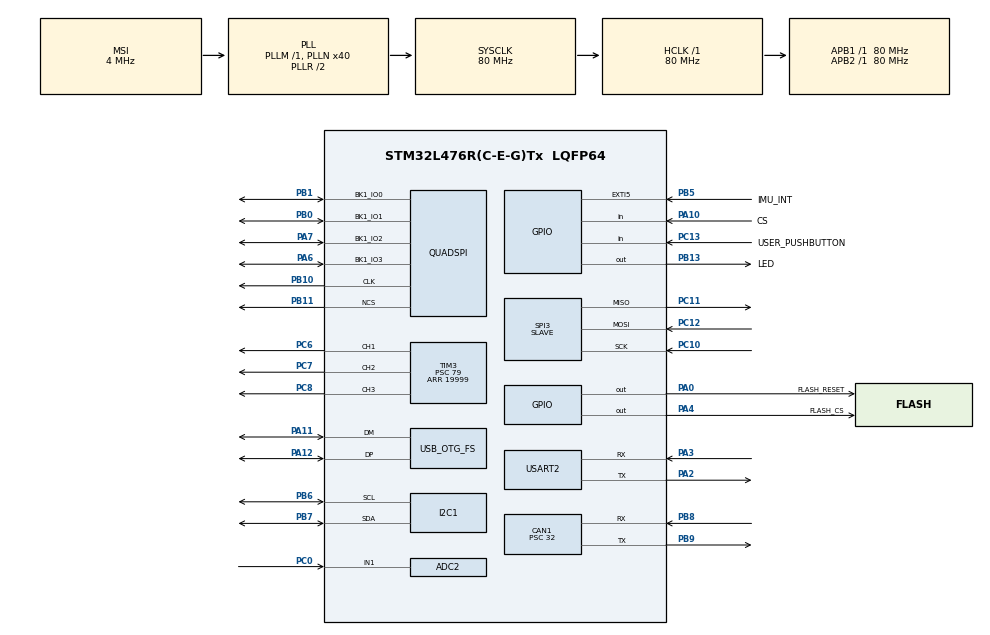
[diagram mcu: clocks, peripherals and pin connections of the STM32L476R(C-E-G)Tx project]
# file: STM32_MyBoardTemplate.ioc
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ADC2.Channel-1\#ChannelRegularConversion=ADC_CHANNEL_1
ADC2.NbrOfConversionFlag=1
ADC2.OffsetNumber-1\#ChannelRegularConversion=ADC_OFFSET_NONE
ADC2.Rank-1\#ChannelRegularConversion=1
ADC2.SamplingTime-1\#ChannelRegularConversion=ADC_SAMPLETIME_2CYCLES_5
CAN1.BS1=CAN_BS1_1TQ
CAN1.BS2=CAN_BS2_1TQ
CAN1.CalculateBaudRate=833333
CAN1.CalculateTimeBit=1200
CAN1.CalculateTimeQuantum=400.0
CAN1.Prescaler=32
I2C1.Timing=0x10909CEC
Mcu.Family=STM32L4
Mcu.Name=STM32L476R(C-E-G)Tx
Mcu.Package=LQFP64
NVIC.EXTI9_5_IRQn=true\:0\:0\:false\:false\:true\:true\:true\:true
NVIC.OTG_FS_IRQn=true\:0\:0\:false\:false\:true\:false\:true\:true
NVIC.PriorityGroup=NVIC_PRIORITYGROUP_4
PA0.GPIO_Label=FLASH_RESET
PA0.Signal=GPIO_Output
PA10.GPIO_Label=CS
PA10.Signal=GPIO_Input
PA11.Mode=Device_Only
PA11.Signal=USB_OTG_FS_DM
PA12.Mode=Device_Only
PA12.Signal=USB_OTG_FS_DP
PA13\ (JTMS-SWDIO).Mode=Serial_Wire
PA13\ (JTMS-SWDIO).Signal=SYS_JTMS-SWDIO
PA14\ (JTCK-SWCLK).Mode=Serial_Wire
PA14\ (JTCK-SWCLK).Signal=SYS_JTCK-SWCLK
PA2.Mode=Asynchronous
PA2.Signal=USART2_TX
PA3.Mode=Asynchronous
PA3.Signal=USART2_RX
PA4.GPIO_Label=FLASH_CS
PA4.Signal=GPIO_Output
PA6.Mode=Single Bank
PA6.Signal=QUADSPI_BK1_IO3
PA7.Mode=Single Bank
PA7.Signal=QUADSPI_BK1_IO2
PB0.Mode=Single Bank
PB0.Signal=QUADSPI_BK1_IO1
PB1.Mode=Single Bank
PB1.Signal=QUADSPI_BK1_IO0
PB10.Mode=Single Bank
PB10.Signal=QUADSPI_CLK
PB11.Mode=Single Bank
PB11.Signal=QUADSPI_NCS
PB13.GPIO_Label=LED
PB13.Signal=GPIO_Output
PB5.GPIO_Label=IMU_INT
PB5.Signal=GPXTI5
PB6.Mode=I2C
PB6.Signal=I2C1_SCL
PB7.Mode=I2C
PB7.Signal=I2C1_SDA
PB8.Mode=CAN_Activate
PB8.Signal=CAN1_RX
PB9.Mode=CAN_Activate
PB9.Signal=CAN1_TX
PC0.Signal=ADCx_IN1
PC10.Mode=Full_Duplex_Slave
PC10.Signal=SPI3_SCK
PC11.Mode=Full_Duplex_Slave
PC11.Signal=SPI3_MISO
PC12.Mode=Full_Duplex_Slave
PC12.Signal=SPI3_MOSI
PC13.GPIO_Label=USER_PUSHBUTTON
PC13.Signal=GPIO_Input
PC14-OSC32_IN\ (PC14).Mode=LSE-External-Oscillator
PC14-OSC32_IN\ (PC14).Signal=RCC_OSC32_IN
PC15-OSC32_OUT\ (PC15).Mode=LSE-External-Oscillator
PC15-OSC32_OUT\ (PC15).Signal=RCC_OSC32_OUT
PC6.Signal=S_TIM3_CH1
PC7.Signal=S_TIM3_CH2
PC8.Signal=S_TIM3_CH3
PH0-OSC_IN\ (PH0).Mode=HSE-External-Oscillator
PH0-OSC_IN\ (PH0).Signal=RCC_OSC_IN
PH1-OSC_OUT\ (PH1).Mode=HSE-External-Oscillator
PH1-OSC_OUT\ (PH1).Signal=RCC_OSC_OUT
ProjectManager.HeapSize=0x2000
ProjectManager.StackSize=0x400
ProjectManager.TargetToolchain=STM32CubeIDE
RCC.ADCFreq_Value=48000000
RCC.AHBFreq_Value=80000000
RCC.APB1Freq_Value=80000000
RCC.APB1TimFreq_Value=80000000
RCC.APB2Freq_Value=80000000
RCC.APB2TimFreq_Value=80000000
RCC.CortexFreq_Value=80000000
RCC.HCLKFreq_Value=80000000
RCC.HSE_VALUE=25000000
RCC.HSI_VALUE=16000000
RCC.MSI_VALUE=4000000
RCC.PLLN=40
RCC.PLLSAI1N=24
RCC.SYSCLKFreq_VALUE=80000000
RCC.SYSCLKSource=RCC_SYSCLKSOURCE_PLLCLK
RCC.USBFreq_Value=48000000
RCC.VCOOutputFreq_Value=160000000
SH.ADCx_IN1.0=ADC2_IN1,IN1-Single-Ended
SH.S_TIM3_CH1.0=TIM3_CH1,PWM Generation1 CH1
SH.S_TIM3_CH2.0=TIM3_CH2,PWM Generation2 CH2
SH.S_TIM3_CH3.0=TIM3_CH3,PWM Generation3 CH3
SPI3.DataSize=SPI_DATASIZE_8BIT
SPI3.Direction=SPI_DIRECTION_2LINES
SPI3.Mode=SPI_MODE_SLAVE
SPI3.VirtualType=VM_SLAVE
TIM3.Channel-PWM\ Generation1\ CH1=TIM_CHANNEL_1
TIM3.Channel-PWM\ Generation2\ CH2=TIM_CHANNEL_2
TIM3.Channel-PWM\ Generation3\ CH3=TIM_CHANNEL_3
TIM3.Period=19999
TIM3.Prescaler=79
USART2.VirtualMode-Asynchronous=VM_ASYNC
USB_DEVICE.CLASS_NAME_FS=CDC
USB_DEVICE.PRODUCT_STRING_CDC_FS=STM32 Virtual PORT
USB_DEVICE.VirtualMode=Cdc
USB_DEVICE.VirtualModeFS=Cdc_FS
USB_OTG_FS.VirtualMode=Device_Only
VP_USB_DEVICE_VS_USB_DEVICE_CDC_FS.Mode=CDC_FS
board=custom

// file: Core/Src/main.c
/* USER CODE BEGIN Header */
/**
  ******************************************************************************
  * @file           : main.c
  * @brief          : Main program body
  ******************************************************************************
  * @attention
  *
  * Copyright (c) 2024 STMicroelectronics.
  * All rights reserved.
  *
  * This software is licensed under terms that can be found in the LICENSE file
  * in the root directory of this software component.
  * If no LICENSE file comes with this software, it is provided AS-IS.
  *
  ******************************************************************************
  */
/* USER CODE END Header */
#include "main.h"
#include "adc.h"
#include "can.h"
#include "i2c.h"
#include "quadspi.h"
#include "spi.h"
#include "tim.h"
#include "usart.h"
#include "usb_device.h"
#include "gpio.h"

/* USER CODE BEGIN Includes */

#include "servo_control.h"
#include "hexapod_protocol.h"

/* USER CODE END Includes */

void SystemClock_Config(void);
void PeriphCommonClock_Config(void);

/* USER CODE BEGIN 0 */

static TIM_HandleTypeDef* servo_timers[] = {
        SERVO_11_TIMER,
        SERVO_12_TIMER,
        SERVO_13_TIMER
};

RAW_SPI_Message my_message;

/* USER CODE END 0 */

int main(void)
{

  /* MCU Configuration--------------------------------------------------------*/

  /* Reset of all peripherals, Initializes the Flash interface and the Systick. */
  HAL_Init();

  /* Configure the system clock */
  SystemClock_Config();

/* Configure the peripherals common clocks */
  PeriphCommonClock_Config();

  /* Initialize all configured peripherals */
  MX_GPIO_Init();
  MX_I2C1_Init();
  MX_CAN1_Init();
  MX_QUADSPI_Init();
  MX_USART2_UART_Init();
  MX_USB_DEVICE_Init();
  MX_SPI3_Init();
  MX_TIM3_Init();
  MX_ADC2_Init();

  /* Infinite loop */
  /* USER CODE BEGIN WHILE */

  bool receive = true;
  RAW_SPI_Message transmit_message;

  // Initialize timers
  for(int i = 0; i < 2; i++){
      HAL_TIM_Base_Start_IT(servo_timers[i]);
  }

  while (1)
  {
      if(HAL_GPIO_ReadPin(CS_GPIO_Port, CS_Pin) == 0){
          if(receive){
              receiveSPIBlocking(&hspi3, &my_message);
              interpretMessage(&my_message, &receive, &transmit_message);
          }
          else{
              sendSPIBlocking(&hspi3, &transmit_message);
              receive = true;
          }
      }

    /* USER CODE END WHILE */

  }
}

void SystemClock_Config(void)
{
  RCC_OscInitTypeDef RCC_OscInitStruct = {0};
  RCC_ClkInitTypeDef RCC_ClkInitStruct = {0};

  /** Configure the main internal regulator output voltage
  */
  if (HAL_PWREx_ControlVoltageScaling(PWR_REGULATOR_VOLTAGE_SCALE1) != HAL_OK)
  {
    Error_Handler();
  }

  /** Configure LSE Drive Capability
  */
  HAL_PWR_EnableBkUpAccess();
  __HAL_RCC_LSEDRIVE_CONFIG(RCC_LSEDRIVE_LOW);

  /** Initializes the RCC Oscillators according to the specified parameters
  * in the RCC_OscInitTypeDef structure.
  */
  RCC_OscInitStruct.OscillatorType = RCC_OSCILLATORTYPE_LSE|RCC_OSCILLATORTYPE_MSI;
  RCC_OscInitStruct.LSEState = RCC_LSE_ON;
  RCC_OscInitStruct.MSIState = RCC_MSI_ON;
  RCC_OscInitStruct.MSICalibrationValue = 0;
  RCC_OscInitStruct.MSIClockRange = RCC_MSIRANGE_6;
  RCC_OscInitStruct.PLL.PLLState = RCC_PLL_ON;
  RCC_OscInitStruct.PLL.PLLSource = RCC_PLLSOURCE_MSI;
  RCC_OscInitStruct.PLL.PLLM = 1;
  RCC_OscInitStruct.PLL.PLLN = 40;
  RCC_OscInitStruct.PLL.PLLP = RCC_PLLP_DIV7;
  RCC_OscInitStruct.PLL.PLLQ = RCC_PLLQ_DIV2;
  RCC_OscInitStruct.PLL.PLLR = RCC_PLLR_DIV2;
  if (HAL_RCC_OscConfig(&RCC_OscInitStruct) != HAL_OK)
  {
    Error_Handler();
  }

  /** Initializes the CPU, AHB and APB buses clocks
  */
  RCC_ClkInitStruct.ClockType = RCC_CLOCKTYPE_HCLK|RCC_CLOCKTYPE_SYSCLK
                              |RCC_CLOCKTYPE_PCLK1|RCC_CLOCKTYPE_PCLK2;
  RCC_ClkInitStruct.SYSCLKSource = RCC_SYSCLKSOURCE_PLLCLK;
  RCC_ClkInitStruct.AHBCLKDivider = RCC_SYSCLK_DIV1;
  RCC_ClkInitStruct.APB1CLKDivider = RCC_HCLK_DIV1;
  RCC_ClkInitStruct.APB2CLKDivider = RCC_HCLK_DIV1;

  if (HAL_RCC_ClockConfig(&RCC_ClkInitStruct, FLASH_LATENCY_4) != HAL_OK)
  {
    Error_Handler();
  }

  /** Enable MSI Auto calibration
  */
  HAL_RCCEx_EnableMSIPLLMode();
}

void PeriphCommonClock_Config(void)
{
  RCC_PeriphCLKInitTypeDef PeriphClkInit = {0};

  /** Initializes the peripherals clock
  */
  PeriphClkInit.PeriphClockSelection = RCC_PERIPHCLK_USB|RCC_PERIPHCLK_ADC;
  PeriphClkInit.AdcClockSelection = RCC_ADCCLKSOURCE_PLLSAI1;
  PeriphClkInit.UsbClockSelection = RCC_USBCLKSOURCE_PLLSAI1;
  PeriphClkInit.PLLSAI1.PLLSAI1Source = RCC_PLLSOURCE_MSI;
  PeriphClkInit.PLLSAI1.PLLSAI1M = 1;
  PeriphClkInit.PLLSAI1.PLLSAI1N = 24;
  PeriphClkInit.PLLSAI1.PLLSAI1P = RCC_PLLP_DIV7;
  PeriphClkInit.PLLSAI1.PLLSAI1Q = RCC_PLLQ_DIV2;
  PeriphClkInit.PLLSAI1.PLLSAI1R = RCC_PLLR_DIV2;
  PeriphClkInit.PLLSAI1.PLLSAI1ClockOut = RCC_PLLSAI1_48M2CLK|RCC_PLLSAI1_ADC1CLK;
  if (HAL_RCCEx_PeriphCLKConfig(&PeriphClkInit) != HAL_OK)
  {
    Error_Handler();
  }
}

void Error_Handler(void)
{
  __disable_irq();
  while (1)
  {
  }
}
